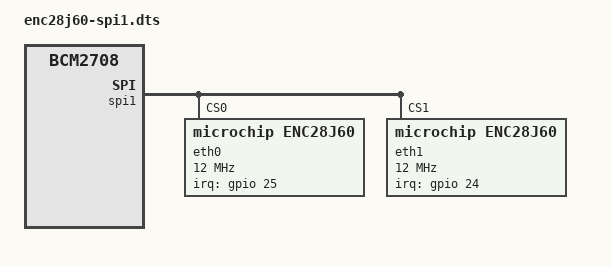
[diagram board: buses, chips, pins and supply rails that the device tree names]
// Overlay for the Microchip ENC28J60 Ethernet Controller
/dts-v1/;
/plugin/;

/ {
	compatible = "brcm,bcm2708";

	fragment@0 {
		target = <&spi1>;
		__overlay__ {
			/* needed to avoid dtc warning */
			#address-cells = <1>;
			#size-cells = <0>;

			status = "okay";

			eth0: enc28j60@0{
				compatible = "microchip,enc28j60";
				reg = <0>; /* CE0 */
				pinctrl-names = "default";
				pinctrl-0 = <&eth0_pins>;
				interrupt-parent = <&gpio>;
				interrupts = <25 0x2>; /* falling edge */
				spi-max-frequency = <12000000>;
				status = "okay";
			};
			eth1: enc28j60@1{
				compatible = "microchip,enc28j60";
				reg = <1>; /* CE1 */
				pinctrl-names = "default";
				pinctrl-1 = <&eth0_pins>;
				interrupt-parent = <&gpio>;
				interrupts = <24 0x2>; /* falling edge */
				spi-max-frequency = <12000000>;
				status = "okay";
			};
		};
	};

	fragment@1 {
		target = <&spidev1>;
		__overlay__ {
			status = "disabled";
		};
	};

	fragment@2 {
		target = <&gpio>;
		__overlay__ {
			eth0_pins: eth0_pins {
				brcm,pins = <25>;
				brcm,function = <0>; /* in */
				brcm,pull = <0>; /* none */
			};
			eth1_pins: eth1_pins {
				brcm,pins = <24>;
				brcm,function = <0>; /* in */
				brcm,pull = <0>; /* none */
			};
		};
	};

	__overrides__ {
		int0_pin = <&eth0>, "interrupts:0",
		          <&eth0_pins>, "brcm,pins:0";

		int1_pin = <&eth1>, "interrupts:0",
		          <&eth1_pins>, "brcm,pins:0";

		speed   = <&eth0>, "spi-max-frequency:0",
					<&eth1>, "spi-max-frequency:0";
	};
};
